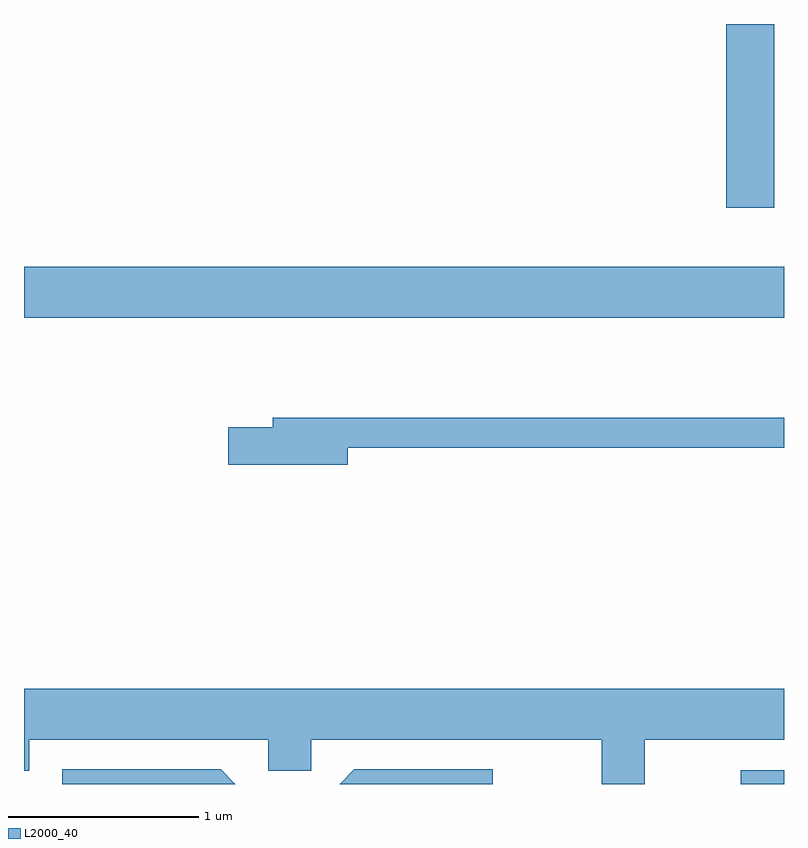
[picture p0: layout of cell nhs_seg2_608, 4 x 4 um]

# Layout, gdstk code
import gdstk
lib = gdstk.Library(unit=1e-6, precision=1e-09)
def R(c, l, rs):  # rectangles x0, y0, x1, y1
    for r in rs: c.add(gdstk.rectangle(r[:2], r[2:], *l))
def P(c, l, *ps):  # polygons
    for p in ps: c.add(gdstk.Polygon(p, *l))
L2000_40 = (2000, 40)

nhs_seg2_608 = lib.new_cell('nhs_seg2_608')
R(nhs_seg2_608, L2000_40, [(205.383,1105.802,205.611,1105.874), (201.611,1108.256,205.611,1108.524), (205.306,1108.836,205.559,1109.802)])
P(nhs_seg2_608, L2000_40, [(203.314,1107.571),(205.611,1107.571),(205.611,1107.729),(202.921,1107.729),(202.921,1107.679),(202.686,1107.679),(202.686,1107.481),(203.314,1107.481)],
  [(204.879,1106.036),(205.611,1106.036),(205.611,1106.304),(201.611,1106.304),(201.611,1105.871),(201.639,1105.871),(201.639,1106.036),(202.896,1106.036),(202.896,1105.871),(203.124,1105.871),(203.124,1106.036),(204.651,1106.036),(204.651,1105.802),(204.879,1105.802)],
  [(204.079,1105.879),(203.349,1105.879),(203.272,1105.802),(204.079,1105.802)],
  [(202.647,1105.879),(201.811,1105.879),(201.811,1105.802),(202.724,1105.802)])

lib.write_gds('nhs_seg2_608.gds')
